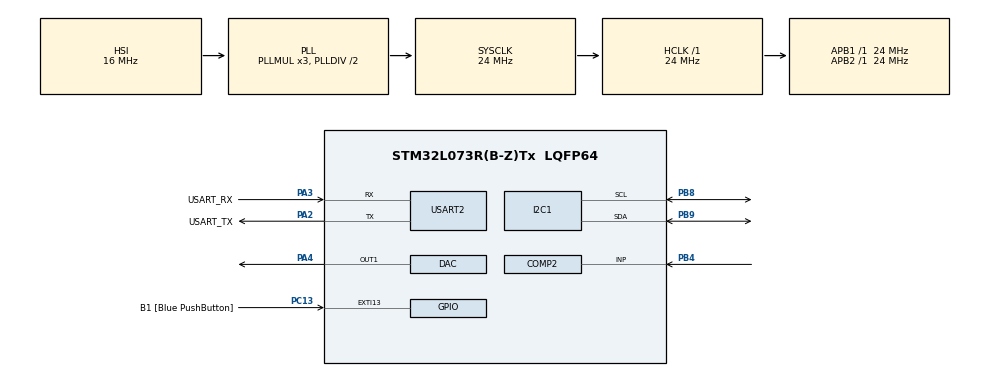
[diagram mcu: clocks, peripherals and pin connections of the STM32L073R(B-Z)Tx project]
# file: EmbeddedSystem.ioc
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COMP2.InvertingInput=COMP_INPUT_MINUS_DAC1_CH1
DAC.DAC_OutputBuffer=DAC_OUTPUTBUFFER_DISABLE
I2C1.Timing=0x00805C87
Mcu.Family=STM32L0
Mcu.Name=STM32L073R(B-Z)Tx
Mcu.Package=LQFP64
NVIC.EXTI4_15_IRQn=true\:0\:0\:false\:false\:true\:true\:true\:true
NVIC.TIM6_DAC_IRQn=true\:0\:0\:false\:false\:true\:true\:true\:true
NVIC.TIM7_IRQn=true\:0\:0\:false\:false\:true\:true\:true\:true
PA2.GPIO_Label=USART_TX
PA2.Mode=Asynchronous
PA2.Signal=USART2_TX
PA3.GPIO_Label=USART_RX
PA3.Mode=Asynchronous
PA3.Signal=USART2_RX
PA4.Signal=COMP_DAC1_group
PB4.Mode=INP
PB4.Signal=COMP2_INP
PB8.Mode=I2C
PB8.Signal=I2C1_SCL
PB9.Mode=I2C
PB9.Signal=I2C1_SDA
PC13.GPIO_Label=B1 [Blue PushButton]
PC13.GPIO_ModeDefaultEXTI=GPIO_MODE_IT_FALLING
PC13.Signal=GPXTI13
ProjectManager.HeapSize=0x200
ProjectManager.StackSize=0x400
ProjectManager.TargetToolchain=MDK-ARM V5.32
RCC.AHBFreq_Value=24000000
RCC.APB1Freq_Value=24000000
RCC.APB1TimFreq_Value=24000000
RCC.APB2Freq_Value=24000000
RCC.APB2TimFreq_Value=24000000
RCC.HCLKFreq_Value=24000000
RCC.HSE_VALUE=8000000
RCC.HSI16_VALUE=16000000
RCC.HSI48_VALUE=48000000
RCC.HSI_VALUE=16000000
RCC.LSE_VALUE=32768
RCC.MSI_VALUE=2097000
RCC.SYSCLKFreq_VALUE=24000000
RCC.SYSCLKSource=RCC_SYSCLKSOURCE_PLLCLK
RCC.VCOOutputFreq_Value=48000000
SH.COMP_DAC1_group.0=DAC_OUT1,DAC_OUT1
TIM2.TIM2_ETR_REMAP-ClockSourceETR_Mode2_Remap_TIM2=TIM2_ETR_COMP2_OUT
TIM6.Period=1000-1
TIM6.Prescaler=2400-1
TIM7.Period=1000-1
TIM7.Prescaler=24-1
USART2.VirtualMode-Asynchronous=VM_ASYNC
VP_COMP2_VS_DACOUT1.Mode=INM_DACOUT1
VP_TIM2_VS_NoETR.Mode=ClockSourceETR_Mode2_Remap_TIM2
VP_TIM6_VS_ClockSourceINT.Mode=Enable_Timer
VP_TIM7_VS_ClockSourceINT.Mode=Enable_Timer
board=NUCLEO-L073RZ

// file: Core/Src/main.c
/* USER CODE BEGIN Header */
/**
 ******************************************************************************
 * @file           : main.c
 * @brief          : Main program body
 ******************************************************************************
 * @attention
 *
 * Copyright (c) 2025 STMicroelectronics.
 * All rights reserved.
 *
 * This software is licensed under terms that can be found in the LICENSE file
 * in the root directory of this software component.
 * If no LICENSE file comes with this software, it is provided AS-IS.
 *
 ******************************************************************************
 */
/* USER CODE END Header */
#include "main.h"

/* USER CODE BEGIN Includes */
#include <math.h>
#include <stdio.h>

#include "mpu6500.h"
#include "ssd1306.h"
#include "ssd1306_fonts.h"
/* USER CODE END Includes */

/* USER CODE BEGIN PTD */
typedef enum {
    measure_frequency,
    measure_vibration
} MeasurementMode;
/* USER CODE END PTD */

/* USER CODE BEGIN PD */
#define SEND_RATE 10
#define DISPLAY_FREQ_PERIOD 1
#define DISPLAY_VIBR_PERIOD 3
/* USER CODE END PD */

COMP_HandleTypeDef hcomp2;

DAC_HandleTypeDef hdac;

I2C_HandleTypeDef hi2c1;

TIM_HandleTypeDef htim2;
TIM_HandleTypeDef htim6;
TIM_HandleTypeDef htim7;

UART_HandleTypeDef huart2;

/* USER CODE BEGIN PV */
MeasurementMode measurementMode = measure_frequency;

volatile uint16_t updates = 0;
volatile uint8_t displaying = 0;

volatile float frequency = 0;

volatile float vibration = 0;
volatile float vibration_sum = 0;
volatile uint16_t vibration_measurements = 0;

volatile uint8_t buttonPressed = 0;
/* USER CODE END PV */

void SystemClock_Config(void);
static void MX_GPIO_Init(void);
static void MX_USART2_UART_Init(void);
static void MX_COMP2_Init(void);
static void MX_DAC_Init(void);
static void MX_I2C1_Init(void);
static void MX_TIM2_Init(void);
static void MX_TIM6_Init(void);
static void MX_TIM7_Init(void);
/* USER CODE BEGIN PFP */
static void DisplayFrequency(void);
static void DisplayVibration(void);

static void GetFrequency(void);
static void ReadMPU(void);
static void GetVibration(void);

static void SendFrequency(void);
static void SendVibration(void);
/* USER CODE END PFP */

/* USER CODE BEGIN 0 */
static void DisplayFrequency(void) {
    char buffer[10];

    ssd1306_Fill(Black);

    ssd1306_SetCursor(0, 10);
    ssd1306_WriteString("Frequency", Font_16x15, White);

    ssd1306_SetCursor(0, 25);
    snprintf(buffer, sizeof(buffer), "%06.3f", frequency / 1000.0f);
    ssd1306_WriteString(buffer, Font_16x24, White);

    ssd1306_WriteString("kHz", Font_16x15, White);

    ssd1306_UpdateScreen();
}

static void DisplayVibration(void) {
    char buffer[10];

    ssd1306_Fill(Black);

    ssd1306_SetCursor(0, 10);
    ssd1306_WriteString("Vibration", Font_16x15, White);

    ssd1306_SetCursor(0, 25);
    snprintf(buffer, sizeof(buffer), "%05.2f", vibration);
    ssd1306_WriteString(buffer, Font_16x24, White);

    ssd1306_WriteString("m/s2", Font_16x15, White);

    ssd1306_UpdateScreen();
}

static void GetFrequency(void) {
    frequency = TIM2->CNT * SEND_RATE;  // frequency = N / TimerPeriod
    TIM2->CNT = 0;
}

static void ReadMPU(void) {
    int16_t Ax, Ay, Az;

    mpu6500GetAcceleration(&Ax, &Ay, &Az);

    const float g = 9.81f;
    const float LSBoverg = 16384.0f;
    const float ratio = LSBoverg / g;
    const float offset = 1.34f;

    // Calculate vibration vector
    float acceleration = sqrtf((float)Ax * (float)Ax + (float)Ay * (float)Ay + (float)Az * (float)Az);
    // Convert to m/s^2 and remove base acceleration and offset
    acceleration = acceleration / ratio - g - offset;
    vibration_sum += acceleration * acceleration;  // Square
    vibration_measurements++;
}

static void GetVibration(void) {
    if (vibration_measurements > 0) {
        vibration = vibration_sum / vibration_measurements;  // Mean square

        vibration = sqrtf(vibration);  // Root mean square

        vibration_measurements = 0;
        vibration_sum = 0;
    }
}

static void SendFrequency(void) {
    char msg[32];
    int len = snprintf(msg, sizeof(msg), "Freq:%.0fHz\n", frequency);
    if (len > 0) {
        HAL_UART_Transmit(&huart2, (uint8_t *)msg, len, HAL_MAX_DELAY);
    }
}

static void SendVibration(void) {
    char msg[32];
    int len = snprintf(msg, sizeof(msg), "Vibr:%.3fm/s2\n", vibration);
    if (len > 0) {
        HAL_UART_Transmit(&huart2, (uint8_t *)msg, len, HAL_MAX_DELAY);
    }
}

void HAL_TIM_PeriodElapsedCallback(TIM_HandleTypeDef *htim) {
    if (htim == &htim6) {
        // Screen update rate depends on mode
        if (measurementMode == measure_frequency) {
            GetFrequency();
            SendFrequency();

            if (updates >= DISPLAY_FREQ_PERIOD * SEND_RATE) {
                displaying = 1;
                updates = 0;
                buttonPressed = 0;
            }
        } else if (measurementMode == measure_vibration) {
            GetVibration();
            SendVibration();

            if (updates >= DISPLAY_VIBR_PERIOD * SEND_RATE) {
                displaying = 1;
                updates = 0;
                buttonPressed = 0;
            }
        }

        updates++;
    } else if (htim == &htim7 && measurementMode == measure_vibration && !displaying) {
        ReadMPU();
    }
}

void HAL_GPIO_EXTI_Callback(uint16_t GPIO_Pin) {
    if (GPIO_Pin == B1_Pin && buttonPressed == 0) {
        if (measurementMode == measure_frequency) {
            measurementMode = measure_vibration;
        } else if (measurementMode == measure_vibration) {
            measurementMode = measure_frequency;
        }
        buttonPressed = 1;  // Debounce
    }
}
/* USER CODE END 0 */

int main(void) {

    /* MCU Configuration--------------------------------------------------------*/

    /* Reset of all peripherals, Initializes the Flash interface and the Systick. */
    HAL_Init();

    /* Configure the system clock */
    SystemClock_Config();

    /* Initialize all configured peripherals */
    MX_GPIO_Init();
    MX_USART2_UART_Init();
    MX_COMP2_Init();
    MX_DAC_Init();
    MX_I2C1_Init();
    MX_TIM2_Init();
    MX_TIM6_Init();
    MX_TIM7_Init();
    /* USER CODE BEGIN 2 */
    ssd1306_Init();
    mpu6500Init();

    HAL_TIM_Base_Start(&htim2);
    HAL_TIM_Base_Start_IT(&htim6);
    HAL_TIM_Base_Start_IT(&htim7);
    HAL_COMP_Start(&hcomp2);

    HAL_DAC_Start(&hdac, DAC_CHANNEL_1);
    uint16_t dac_value = 62;  // 0.05 V = 3.3 V / 4095 * 62

    /* USER CODE END 2 */

    /* Infinite loop */
    while (1) {

        /* USER CODE BEGIN 3 */
        HAL_DAC_SetValue(&hdac, DAC_CHANNEL_1, DAC_ALIGN_12B_R, dac_value);

        if (displaying) {
            if (measurementMode == measure_frequency) {
                DisplayFrequency();
            } else if (measurementMode == measure_vibration) {
                DisplayVibration();
            }
            displaying = 0;
        }
    }
    /* USER CODE END 3 */
}

void SystemClock_Config(void) {
    RCC_OscInitTypeDef RCC_OscInitStruct = {0};
    RCC_ClkInitTypeDef RCC_ClkInitStruct = {0};
    RCC_PeriphCLKInitTypeDef PeriphClkInit = {0};

    /** Configure the main internal regulator output voltage
     */
    __HAL_PWR_VOLTAGESCALING_CONFIG(PWR_REGULATOR_VOLTAGE_SCALE1);

    /** Initializes the RCC Oscillators according to the specified parameters
     * in the RCC_OscInitTypeDef structure.
     */
    RCC_OscInitStruct.OscillatorType = RCC_OSCILLATORTYPE_HSI;
    RCC_OscInitStruct.HSIState = RCC_HSI_ON;
    RCC_OscInitStruct.HSICalibrationValue = RCC_HSICALIBRATION_DEFAULT;
    RCC_OscInitStruct.PLL.PLLState = RCC_PLL_ON;
    RCC_OscInitStruct.PLL.PLLSource = RCC_PLLSOURCE_HSI;
    RCC_OscInitStruct.PLL.PLLMUL = RCC_PLLMUL_3;
    RCC_OscInitStruct.PLL.PLLDIV = RCC_PLLDIV_2;
    if (HAL_RCC_OscConfig(&RCC_OscInitStruct) != HAL_OK) {
        Error_Handler();
    }

    /** Initializes the CPU, AHB and APB buses clocks
     */
    RCC_ClkInitStruct.ClockType = RCC_CLOCKTYPE_HCLK | RCC_CLOCKTYPE_SYSCLK | RCC_CLOCKTYPE_PCLK1 | RCC_CLOCKTYPE_PCLK2;
    RCC_ClkInitStruct.SYSCLKSource = RCC_SYSCLKSOURCE_PLLCLK;
    RCC_ClkInitStruct.AHBCLKDivider = RCC_SYSCLK_DIV1;
    RCC_ClkInitStruct.APB1CLKDivider = RCC_HCLK_DIV1;
    RCC_ClkInitStruct.APB2CLKDivider = RCC_HCLK_DIV1;

    if (HAL_RCC_ClockConfig(&RCC_ClkInitStruct, FLASH_LATENCY_1) != HAL_OK) {
        Error_Handler();
    }
    PeriphClkInit.PeriphClockSelection = RCC_PERIPHCLK_USART2 | RCC_PERIPHCLK_I2C1;
    PeriphClkInit.Usart2ClockSelection = RCC_USART2CLKSOURCE_PCLK1;
    PeriphClkInit.I2c1ClockSelection = RCC_I2C1CLKSOURCE_PCLK1;
    if (HAL_RCCEx_PeriphCLKConfig(&PeriphClkInit) != HAL_OK) {
        Error_Handler();
    }
}

static void MX_COMP2_Init(void) {

    hcomp2.Instance = COMP2;
    hcomp2.Init.InvertingInput = COMP_INPUT_MINUS_DAC1_CH1;
    hcomp2.Init.NonInvertingInput = COMP_INPUT_PLUS_IO2;
    hcomp2.Init.LPTIMConnection = COMP_LPTIMCONNECTION_DISABLED;
    hcomp2.Init.OutputPol = COMP_OUTPUTPOL_NONINVERTED;
    hcomp2.Init.Mode = COMP_POWERMODE_MEDIUMSPEED;
    hcomp2.Init.WindowMode = COMP_WINDOWMODE_DISABLE;
    hcomp2.Init.TriggerMode = COMP_TRIGGERMODE_NONE;
    if (HAL_COMP_Init(&hcomp2) != HAL_OK) {
        Error_Handler();
    }
}

static void MX_DAC_Init(void) {

    DAC_ChannelConfTypeDef sConfig = {0};

    /** DAC Initialization
     */
    hdac.Instance = DAC;
    if (HAL_DAC_Init(&hdac) != HAL_OK) {
        Error_Handler();
    }

    /** DAC channel OUT1 config
     */
    sConfig.DAC_Trigger = DAC_TRIGGER_NONE;
    sConfig.DAC_OutputBuffer = DAC_OUTPUTBUFFER_DISABLE;
    if (HAL_DAC_ConfigChannel(&hdac, &sConfig, DAC_CHANNEL_1) != HAL_OK) {
        Error_Handler();
    }
}

static void MX_I2C1_Init(void) {

    hi2c1.Instance = I2C1;
    hi2c1.Init.Timing = 0x00805C87;
    hi2c1.Init.OwnAddress1 = 0;
    hi2c1.Init.AddressingMode = I2C_ADDRESSINGMODE_7BIT;
    hi2c1.Init.DualAddressMode = I2C_DUALADDRESS_DISABLE;
    hi2c1.Init.OwnAddress2 = 0;
    hi2c1.Init.OwnAddress2Masks = I2C_OA2_NOMASK;
    hi2c1.Init.GeneralCallMode = I2C_GENERALCALL_DISABLE;
    hi2c1.Init.NoStretchMode = I2C_NOSTRETCH_DISABLE;
    if (HAL_I2C_Init(&hi2c1) != HAL_OK) {
        Error_Handler();
    }

    /** Configure Analogue filter
     */
    if (HAL_I2CEx_ConfigAnalogFilter(&hi2c1, I2C_ANALOGFILTER_ENABLE) != HAL_OK) {
        Error_Handler();
    }

    /** Configure Digital filter
     */
    if (HAL_I2CEx_ConfigDigitalFilter(&hi2c1, 0) != HAL_OK) {
        Error_Handler();
    }
}

static void MX_TIM2_Init(void) {

    TIM_ClockConfigTypeDef sClockSourceConfig = {0};
    TIM_MasterConfigTypeDef sMasterConfig = {0};

    htim2.Instance = TIM2;
    htim2.Init.Prescaler = 0;
    htim2.Init.CounterMode = TIM_COUNTERMODE_UP;
    htim2.Init.Period = 65535;
    htim2.Init.ClockDivision = TIM_CLOCKDIVISION_DIV1;
    htim2.Init.AutoReloadPreload = TIM_AUTORELOAD_PRELOAD_DISABLE;
    if (HAL_TIM_Base_Init(&htim2) != HAL_OK) {
        Error_Handler();
    }
    sClockSourceConfig.ClockSource = TIM_CLOCKSOURCE_ETRMODE2;
    sClockSourceConfig.ClockPolarity = TIM_CLOCKPOLARITY_NONINVERTED;
    sClockSourceConfig.ClockPrescaler = TIM_CLOCKPRESCALER_DIV1;
    sClockSourceConfig.ClockFilter = 0;
    if (HAL_TIM_ConfigClockSource(&htim2, &sClockSourceConfig) != HAL_OK) {
        Error_Handler();
    }
    sMasterConfig.MasterOutputTrigger = TIM_TRGO_RESET;
    sMasterConfig.MasterSlaveMode = TIM_MASTERSLAVEMODE_DISABLE;
    if (HAL_TIMEx_MasterConfigSynchronization(&htim2, &sMasterConfig) != HAL_OK) {
        Error_Handler();
    }
    if (HAL_TIMEx_RemapConfig(&htim2, TIM2_ETR_COMP2_OUT) != HAL_OK) {
        Error_Handler();
    }
}

static void MX_TIM6_Init(void) {

    TIM_MasterConfigTypeDef sMasterConfig = {0};

    htim6.Instance = TIM6;
    htim6.Init.Prescaler = 2400 - 1;
    htim6.Init.CounterMode = TIM_COUNTERMODE_UP;
    htim6.Init.Period = 1000 - 1;
    htim6.Init.AutoReloadPreload = TIM_AUTORELOAD_PRELOAD_DISABLE;
    if (HAL_TIM_Base_Init(&htim6) != HAL_OK) {
        Error_Handler();
    }
    sMasterConfig.MasterOutputTrigger = TIM_TRGO_RESET;
    sMasterConfig.MasterSlaveMode = TIM_MASTERSLAVEMODE_DISABLE;
    if (HAL_TIMEx_MasterConfigSynchronization(&htim6, &sMasterConfig) != HAL_OK) {
        Error_Handler();
    }
}

static void MX_TIM7_Init(void) {

    TIM_MasterConfigTypeDef sMasterConfig = {0};

    htim7.Instance = TIM7;
    htim7.Init.Prescaler = 24 - 1;
    htim7.Init.CounterMode = TIM_COUNTERMODE_UP;
    htim7.Init.Period = 1000 - 1;
    htim7.Init.AutoReloadPreload = TIM_AUTORELOAD_PRELOAD_DISABLE;
    if (HAL_TIM_Base_Init(&htim7) != HAL_OK) {
        Error_Handler();
    }
    sMasterConfig.MasterOutputTrigger = TIM_TRGO_RESET;
    sMasterConfig.MasterSlaveMode = TIM_MASTERSLAVEMODE_DISABLE;
    if (HAL_TIMEx_MasterConfigSynchronization(&htim7, &sMasterConfig) != HAL_OK) {
        Error_Handler();
    }
}

static void MX_USART2_UART_Init(void) {

    huart2.Instance = USART2;
    huart2.Init.BaudRate = 115200;
    huart2.Init.WordLength = UART_WORDLENGTH_8B;
    huart2.Init.StopBits = UART_STOPBITS_1;
    huart2.Init.Parity = UART_PARITY_NONE;
    huart2.Init.Mode = UART_MODE_TX_RX;
    huart2.Init.HwFlowCtl = UART_HWCONTROL_NONE;
    huart2.Init.OverSampling = UART_OVERSAMPLING_16;
    huart2.Init.OneBitSampling = UART_ONE_BIT_SAMPLE_DISABLE;
    huart2.AdvancedInit.AdvFeatureInit = UART_ADVFEATURE_NO_INIT;
    if (HAL_UART_Init(&huart2) != HAL_OK) {
        Error_Handler();
    }
}

static void MX_GPIO_Init(void) {
    GPIO_InitTypeDef GPIO_InitStruct = {0};

    /* GPIO Ports Clock Enable */
    __HAL_RCC_GPIOC_CLK_ENABLE();
    __HAL_RCC_GPIOA_CLK_ENABLE();
    __HAL_RCC_GPIOB_CLK_ENABLE();

    /*Configure GPIO pin : B1_Pin */
    GPIO_InitStruct.Pin = B1_Pin;
    GPIO_InitStruct.Mode = GPIO_MODE_IT_FALLING;
    GPIO_InitStruct.Pull = GPIO_NOPULL;
    HAL_GPIO_Init(B1_GPIO_Port, &GPIO_InitStruct);

    /* EXTI interrupt init*/
    HAL_NVIC_SetPriority(EXTI4_15_IRQn, 0, 0);
    HAL_NVIC_EnableIRQ(EXTI4_15_IRQn);

}

void Error_Handler(void) {
    __disable_irq();
    while (1) {
    }
}
